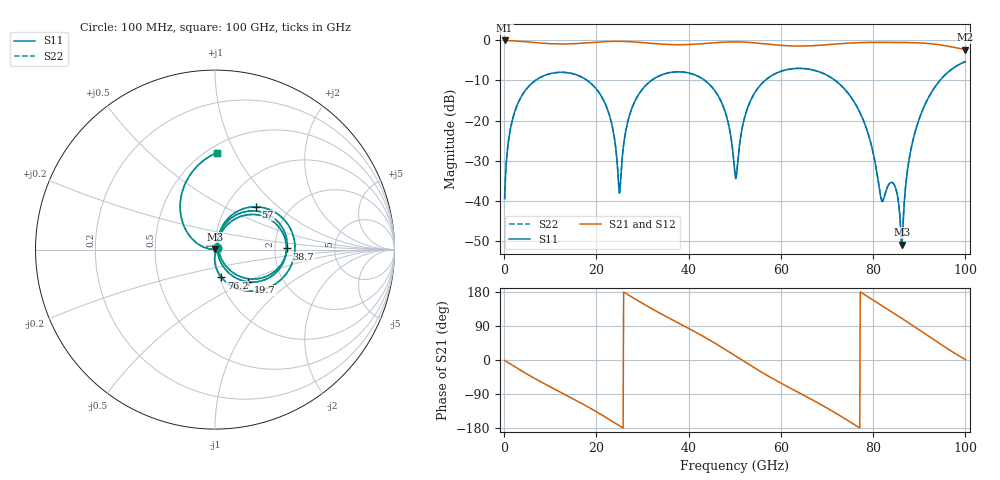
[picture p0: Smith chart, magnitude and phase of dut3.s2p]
! Touchstone file exported from HFSS 2026.1.0
!  File:  C:/ffzhzh/LocalFiles/Ansys_Project_Files/temp_train_TSV_RDL_3_1783611420_26216.aedt
!  Generated:  11:45:26 PM Jul  9, 2026
!  Design:  TSV_RDL
!  Project:  temp_train_TSV_RDL_3_1783611420_26216
! Variables:
!  h_bsmrdl = 3.37um
!  h_ox = 20um
!  h_rdl = 5um
!  h_sub = 92.12um
!  h_tmrdl = 3.84um
!  h_tsv = 92.12um
!  h_via = 3um
!  l_bsmrdl = 228.45um
!  l_sub = 2105.05um
!  l_tmrdl = 221.64um
!  m_sub = 200um
!  pitch = 48.43um
!  r_tsv = 11um
!  s_tmrdl = 10um
!  w_bsmrdl = 18.7um
!  w_sub = 500um
!  w_tmrdl = 25.68um
!  x_tsv_center1 = 234.48um
!  x_tsv_center2 = 481.63um
!  x_tsv_center3 = 728.95um
!  x_tsv_center4 = 976.1um
!  x_tsv_center5 = 1223.42um
!  x_tsv_center6 = 1470.57um
# GHz S MA R 50.000000
! Terminal data exported
! Port[1] = TM_RDL1_1_T1
! Port[2] = TM_RDL5_1_T1
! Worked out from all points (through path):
!   1000 points, 100 MHz to 100 GHz, reference 50 ohm
!   highest |S21| = -0.07 dB at 100 MHz (marker M1); lowest = -2.3 dB at 100 GHz (marker M2)
!   group delay of S21, straight-line fit = 19.8 ps
!   lowest |S11| = -50.9 dB at 86.2 GHz (marker M3), VSWR 1.01, Z = 50 + j0.286 ohm
!   |S11| at or under -10 dB: 17.99 GHz to 31.97 GHz (13.98 GHz wide, 56 % of centre); 43.48 GHz to 56.6 GHz (13.11 GHz wide, 26.2 % of centre); 71.75 GHz to 94.5 GHz (22.76 GHz wide, 27.4 % of centre) (the widest 3 of 4)
!   |S22| runs from -51.3 to -5.3 dB; largest |S21 - S12| = 5.8e-14
!   S11 on the Smith chart (normalised r, x): 100 MHz: 1.02, +0.01; 19.7 GHz: 1.34, -0.52; 38.7 GHz: 2.34, +0.04; 57 GHz: 1.37, +0.73; 76.2 GHz: 1.02, -0.33; 100 GHz: 0.56, +0.85
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0.1  0.01065 36.1  0.9915 -0.8  0.9915 -0.8  0.01065 36.1
! Gamma 0 0 0 0
! Port Impedance 50 0 50 0
1.6  0.09168 70.2  0.9839 -12.4  0.9839 -12.4  0.09168 70.2
4.4  0.2287 53.1  0.958 -33.1  0.958 -33.1  0.2287 53.1
16.8  0.3476 -25.4  0.9149 -114.5  0.9149 -114.5  0.3476 -25.4
19.7  0.2579 -44.1  0.9406 -134.4  0.9406 -134.4  0.2579 -44.1
23  0.1075 -63.9  0.9642 -158.6  0.9642 -158.6  0.1075 -63.9
25  0.01255 3.3  0.9674 -173.7  0.9674 -173.7  0.01252 3.4
27.7  0.1424 69.6  0.9546 166.0  0.9546 166.0  0.1424 69.7
33.4  0.3543 33.6  0.898 126.0  0.898 126.0  0.3543 33.7
38.7  0.4016 0.9  0.8783 91.8  0.8783 91.8  0.4016 1.0
46.6  0.1935 -48.6  0.9375 37.8  0.9375 37.8  0.1936 -48.3
50.1  0.02006 -10.2  0.9522 11.1  0.9522 11.1  0.02083 -9.3
52.8  0.1445 71.9  0.9398 -9.8  0.9398 -9.8  0.1446 71.6
57  0.3305 46.1  0.8932 -40.6  0.8932 -40.6  0.3305 46.0
66.7  0.4287 -14.3  0.852 -104.4  0.852 -104.4  0.4287 -14.3
76.2  0.1591 -76.9  0.9284 -172.6  0.9284 -172.6  0.1591 -76.6
81.8  0.01012 -42.4  0.9385 144.1  0.9385 144.1  0.01063 -42.1
83.4  0.01598 19.3  0.9377 131.7  0.9377 131.7  0.01613 18.0
86.2  0.002865 91.9  0.9355 109.9  0.9355 109.9  0.002732 91.4
87.9  0.03551 172.2  0.9329 96.4  0.9329 96.4  0.03554 172.1
90.4  0.1215 158.0  0.9226 76.2  0.9226 76.2  0.1215 157.9
100  0.5409 88.8  0.764 1.3  0.764 1.3  0.541 88.7
